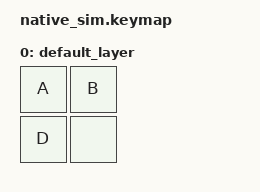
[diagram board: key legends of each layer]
#include <dt-bindings/zmk/keys.h>
#include <behaviors.dtsi>
#include <dt-bindings/zmk/input_mock.h>

/ {
    combos {
        compatible = "zmk,combos";
        combo_one {
            timeout-ms = <30>;
            key-positions = <0 1>;
            bindings = <&kp C>;
            /* no slow-release! */
        };
    };

    keymap {
        compatible = "zmk,keymap";

        default_layer {
            bindings = <
                &kp A &kp B
                &kp D &none
            >;
        };
    };
};

&mock_input {
    events = <
        ZMK_INPUT_MOCK_PRESS(0,0,10)
        ZMK_INPUT_MOCK_PRESS(0,1,10)
        ZMK_INPUT_MOCK_RELEASE(0,0,10) /* this should release the combo */
        ZMK_INPUT_MOCK_PRESS(1,0,10)
        ZMK_INPUT_MOCK_RELEASE(0,1,10)
        ZMK_INPUT_MOCK_RELEASE(1,0,10)
    >;
};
